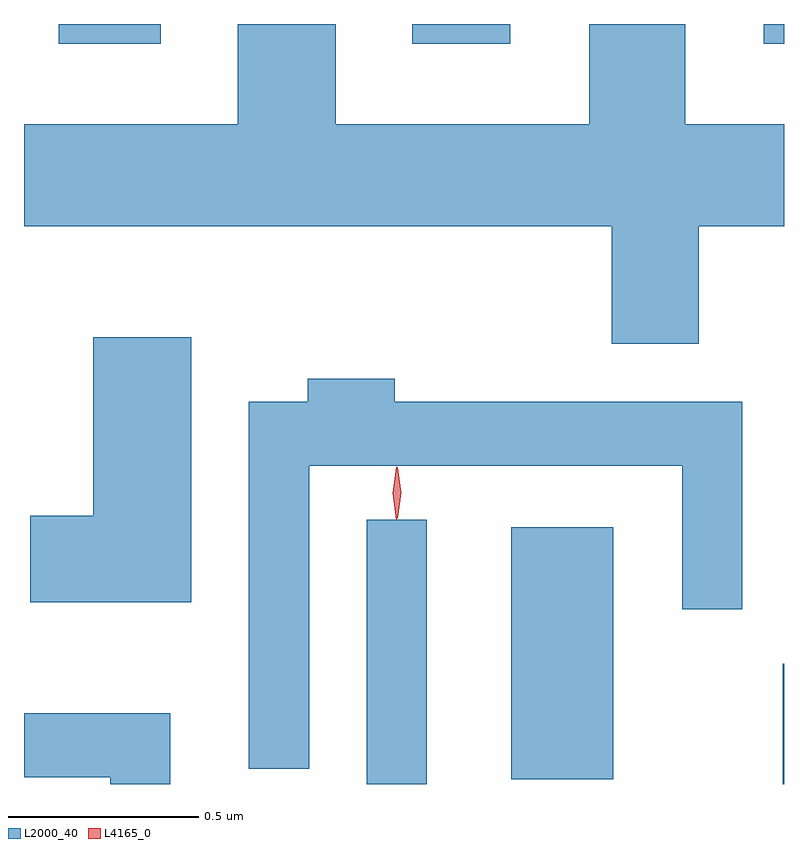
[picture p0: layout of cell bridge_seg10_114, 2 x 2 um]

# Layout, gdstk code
import gdstk
lib = gdstk.Library(unit=1e-6, precision=1e-09)
def R(c, l, rs):  # rectangles x0, y0, x1, y1
    for r in rs: c.add(gdstk.rectangle(r[:2], r[2:], *l))
def P(c, l, *ps):  # polygons
    for p in ps: c.add(gdstk.Polygon(p, *l))
L2000_40 = (2000, 40)
L4165_0 = (4165, 0)

bridge_seg10_114 = lib.new_cell('bridge_seg10_114')
R(bridge_seg10_114, L2000_40, [(1583.506,2172.388,1583.664,2173.083), (1584.601,2172.388,1584.604,2172.704), (1583.886,2172.401,1584.154,2173.064), (1582.696,2174.336,1582.964,2174.388), (1583.626,2174.336,1583.884,2174.388), (1584.551,2174.336,1584.604,2174.388)])
P(bridge_seg10_114, L2000_40, [(1584.379,2173.856),(1584.604,2173.856),(1584.604,2174.124),(1584.344,2174.124),(1584.344,2174.388),(1584.091,2174.388),(1584.091,2174.124),(1583.424,2174.124),(1583.424,2174.388),(1583.166,2174.388),(1583.166,2174.124),(1582.604,2174.124),(1582.604,2173.856),(1584.151,2173.856),(1584.151,2173.546),(1584.379,2173.546)],
  [(1583.044,2173.564),(1582.786,2173.564),(1582.786,2173.094),(1582.621,2173.094),(1582.621,2172.866),(1583.044,2172.866)],
  [(1583.354,2173.226),(1584.336,2173.226),(1584.336,2172.848),(1584.494,2172.848),(1584.494,2173.394),(1583.579,2173.394),(1583.579,2173.454),(1583.351,2173.454),(1583.351,2173.394),(1583.196,2173.394),(1583.196,2172.428),(1583.354,2172.428)],
  [(1582.989,2172.574),(1582.604,2172.574),(1582.604,2172.406),(1582.831,2172.406),(1582.831,2172.388),(1582.989,2172.388)])
P(bridge_seg10_114, L4165_0, [(1583.584,2173.084),(1583.584,2173.084),(1583.574,2173.153),(1583.584,2173.222),(1583.584,2173.223),(1583.585,2173.222),(1583.594,2173.153),(1583.585,2173.084)],
  [(1583.587,2173.087),(1583.586,2173.088),(1583.577,2173.154),(1583.586,2173.22),(1583.587,2173.221),(1583.587,2173.22),(1583.597,2173.154),(1583.587,2173.088)])

lib.write_gds('bridge_seg10_114.gds')
